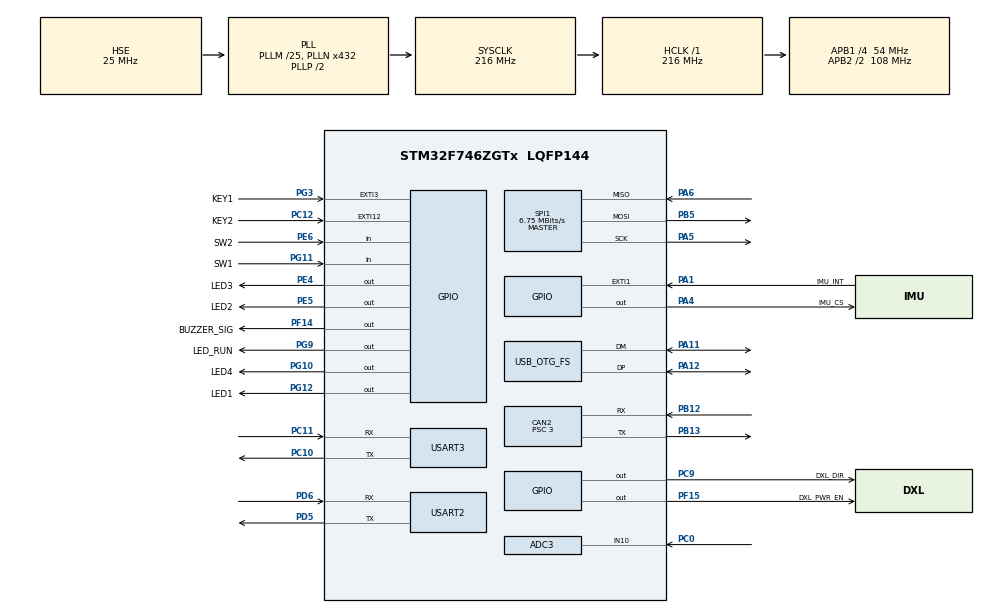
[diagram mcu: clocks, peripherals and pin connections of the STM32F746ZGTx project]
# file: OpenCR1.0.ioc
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ADC1.Channel-0\#ChannelRegularConversion=ADC_CHANNEL_VREFINT
ADC1.Channel-1\#ChannelRegularConversion=ADC_CHANNEL_VBAT
ADC1.ClockPrescaler=ADC_CLOCK_SYNC_PCLK_DIV8
ADC1.ContinuousConvMode=ENABLE
ADC1.DMAContinuousRequests=ENABLE
ADC1.NbrOfConversion=2
ADC1.NbrOfConversionFlag=1
ADC1.Rank-0\#ChannelRegularConversion=1
ADC1.Rank-1\#ChannelRegularConversion=2
ADC1.SamplingTime-0\#ChannelRegularConversion=ADC_SAMPLETIME_480CYCLES
ADC1.SamplingTime-1\#ChannelRegularConversion=ADC_SAMPLETIME_480CYCLES
ADC1.ScanConvMode=ADC_SCAN_ENABLE
ADC1.master=1
ADC3.Channel-0\#ChannelRegularConversion=ADC_CHANNEL_10
ADC3.ClockPrescaler=ADC_CLOCK_SYNC_PCLK_DIV8
ADC3.ContinuousConvMode=ENABLE
ADC3.DMAContinuousRequests=ENABLE
ADC3.NbrOfConversionFlag=1
ADC3.Rank-0\#ChannelRegularConversion=1
ADC3.SamplingTime-0\#ChannelRegularConversion=ADC_SAMPLETIME_480CYCLES
ADC3.ScanConvMode=ADC_SCAN_ENABLE
CAN2.BS1=CAN_BS1_15TQ
CAN2.BS2=CAN_BS2_2TQ
CAN2.CalculateBaudRate=1000000
CAN2.CalculateTimeBit=1000
CAN2.CalculateTimeQuantum=55.55555555555556
CAN2.NART=ENABLE
CAN2.Prescaler=3
CAN2.SJW=CAN_SJW_4TQ
CORTEX_M7.ART_ACCELERATOR_ENABLE=1
CORTEX_M7.CPU_DCache=Enabled
CORTEX_M7.CPU_ICache=Enabled
CORTEX_M7.FlashInterface=AXI_Enabled
CORTEX_M7.PREFETCH_ENABLE=1
Dma.ADC1.5.Direction=DMA_PERIPH_TO_MEMORY
Dma.ADC1.5.FIFOMode=DMA_FIFOMODE_DISABLE
Dma.ADC1.5.Instance=DMA2_Stream4
Dma.ADC1.5.MemDataAlignment=DMA_MDATAALIGN_HALFWORD
Dma.ADC1.5.MemInc=DMA_MINC_ENABLE
Dma.ADC1.5.Mode=DMA_CIRCULAR
Dma.ADC1.5.PeriphDataAlignment=DMA_PDATAALIGN_HALFWORD
Dma.ADC1.5.PeriphInc=DMA_PINC_DISABLE
Dma.ADC1.5.Priority=DMA_PRIORITY_LOW
Dma.ADC3.4.Direction=DMA_PERIPH_TO_MEMORY
Dma.ADC3.4.FIFOMode=DMA_FIFOMODE_DISABLE
Dma.ADC3.4.Instance=DMA2_Stream0
Dma.ADC3.4.MemDataAlignment=DMA_MDATAALIGN_HALFWORD
Dma.ADC3.4.MemInc=DMA_MINC_ENABLE
Dma.ADC3.4.Mode=DMA_CIRCULAR
Dma.ADC3.4.PeriphDataAlignment=DMA_PDATAALIGN_HALFWORD
Dma.ADC3.4.PeriphInc=DMA_PINC_DISABLE
Dma.ADC3.4.Priority=DMA_PRIORITY_LOW
Dma.Request0=USART3_RX
Dma.Request1=USART3_TX
Dma.Request2=USART2_RX
Dma.Request3=USART2_TX
Dma.Request4=ADC3
Dma.Request5=ADC1
Dma.Request6=SPI1_RX
Dma.Request7=SPI1_TX
Dma.SPI1_RX.6.Direction=DMA_PERIPH_TO_MEMORY
Dma.SPI1_RX.6.FIFOMode=DMA_FIFOMODE_DISABLE
Dma.SPI1_RX.6.Instance=DMA2_Stream2
Dma.SPI1_RX.6.MemDataAlignment=DMA_MDATAALIGN_BYTE
Dma.SPI1_RX.6.MemInc=DMA_MINC_ENABLE
Dma.SPI1_RX.6.Mode=DMA_NORMAL
Dma.SPI1_RX.6.PeriphDataAlignment=DMA_PDATAALIGN_BYTE
Dma.SPI1_RX.6.PeriphInc=DMA_PINC_DISABLE
Dma.SPI1_RX.6.Priority=DMA_PRIORITY_LOW
Dma.SPI1_TX.7.Direction=DMA_MEMORY_TO_PERIPH
Dma.SPI1_TX.7.FIFOMode=DMA_FIFOMODE_DISABLE
Dma.SPI1_TX.7.Instance=DMA2_Stream3
Dma.SPI1_TX.7.MemDataAlignment=DMA_MDATAALIGN_BYTE
Dma.SPI1_TX.7.MemInc=DMA_MINC_ENABLE
Dma.SPI1_TX.7.Mode=DMA_NORMAL
Dma.SPI1_TX.7.PeriphDataAlignment=DMA_PDATAALIGN_BYTE
Dma.SPI1_TX.7.PeriphInc=DMA_PINC_DISABLE
Dma.SPI1_TX.7.Priority=DMA_PRIORITY_LOW
Dma.USART2_RX.2.Direction=DMA_PERIPH_TO_MEMORY
Dma.USART2_RX.2.FIFOMode=DMA_FIFOMODE_DISABLE
Dma.USART2_RX.2.Instance=DMA1_Stream5
Dma.USART2_RX.2.MemDataAlignment=DMA_MDATAALIGN_BYTE
Dma.USART2_RX.2.MemInc=DMA_MINC_ENABLE
Dma.USART2_RX.2.Mode=DMA_NORMAL
Dma.USART2_RX.2.PeriphDataAlignment=DMA_PDATAALIGN_BYTE
Dma.USART2_RX.2.PeriphInc=DMA_PINC_DISABLE
Dma.USART2_RX.2.Priority=DMA_PRIORITY_LOW
Dma.USART2_TX.3.Direction=DMA_MEMORY_TO_PERIPH
Dma.USART2_TX.3.FIFOMode=DMA_FIFOMODE_DISABLE
Dma.USART2_TX.3.Instance=DMA1_Stream6
Dma.USART2_TX.3.MemDataAlignment=DMA_MDATAALIGN_BYTE
Dma.USART2_TX.3.MemInc=DMA_MINC_ENABLE
Dma.USART2_TX.3.Mode=DMA_NORMAL
Dma.USART2_TX.3.PeriphDataAlignment=DMA_PDATAALIGN_BYTE
Dma.USART2_TX.3.PeriphInc=DMA_PINC_DISABLE
Dma.USART2_TX.3.Priority=DMA_PRIORITY_LOW
Dma.USART3_RX.0.Direction=DMA_PERIPH_TO_MEMORY
Dma.USART3_RX.0.FIFOMode=DMA_FIFOMODE_DISABLE
Dma.USART3_RX.0.Instance=DMA1_Stream1
Dma.USART3_RX.0.MemDataAlignment=DMA_MDATAALIGN_BYTE
Dma.USART3_RX.0.MemInc=DMA_MINC_ENABLE
Dma.USART3_RX.0.Mode=DMA_NORMAL
Dma.USART3_RX.0.PeriphDataAlignment=DMA_PDATAALIGN_BYTE
Dma.USART3_RX.0.PeriphInc=DMA_PINC_DISABLE
Dma.USART3_RX.0.Priority=DMA_PRIORITY_LOW
Dma.USART3_TX.1.Direction=DMA_MEMORY_TO_PERIPH
Dma.USART3_TX.1.FIFOMode=DMA_FIFOMODE_DISABLE
Dma.USART3_TX.1.Instance=DMA1_Stream3
Dma.USART3_TX.1.MemDataAlignment=DMA_MDATAALIGN_BYTE
Dma.USART3_TX.1.MemInc=DMA_MINC_ENABLE
Dma.USART3_TX.1.Mode=DMA_NORMAL
Dma.USART3_TX.1.PeriphDataAlignment=DMA_PDATAALIGN_BYTE
Dma.USART3_TX.1.PeriphInc=DMA_PINC_DISABLE
Dma.USART3_TX.1.Priority=DMA_PRIORITY_LOW
FREERTOS.HEAP_NUMBER=1
FREERTOS.INCLUDE_vTaskDelayUntil=1
FREERTOS.MEMORY_ALLOCATION=0
FREERTOS.Tasks01=defaultTask,0,2048,StartDefaultTask,Default,NULL,Dynamic,NULL,NULL
FREERTOS.configCHECK_FOR_STACK_OVERFLOW=2
FREERTOS.configENABLE_BACKWARD_COMPATIBILITY=0
FREERTOS.configENABLE_FPU=1
FREERTOS.configQUEUE_REGISTRY_SIZE=0
FREERTOS.configRECORD_STACK_HIGH_ADDRESS=1
FREERTOS.configTOTAL_HEAP_SIZE=32768
FREERTOS.configUSE_COUNTING_SEMAPHORES=1
FREERTOS.configUSE_TASK_NOTIFICATIONS=0
IWDG.Prescaler=IWDG_PRESCALER_256
Mcu.Family=STM32F7
Mcu.Name=STM32F746ZGTx
Mcu.Package=LQFP144
NVIC.CAN2_RX0_IRQn=true\:5\:0\:false\:false\:true\:true\:true\:true\:true
NVIC.CAN2_RX1_IRQn=true\:5\:0\:false\:false\:true\:true\:true\:true\:true
NVIC.CAN2_SCE_IRQn=true\:5\:0\:false\:false\:true\:true\:true\:true\:true
NVIC.CAN2_TX_IRQn=true\:5\:0\:false\:false\:true\:true\:true\:true\:true
NVIC.DMA1_Stream1_IRQn=true\:5\:0\:false\:false\:true\:true\:false\:true\:true
NVIC.DMA1_Stream3_IRQn=true\:5\:0\:false\:false\:true\:true\:false\:true\:true
NVIC.DMA1_Stream5_IRQn=true\:5\:0\:false\:false\:true\:true\:false\:true\:true
NVIC.DMA1_Stream6_IRQn=true\:5\:0\:false\:false\:true\:true\:false\:true\:true
NVIC.DMA2_Stream0_IRQn=true\:5\:0\:false\:false\:true\:true\:false\:true\:true
NVIC.DMA2_Stream2_IRQn=true\:5\:0\:false\:false\:true\:true\:false\:true\:true
NVIC.DMA2_Stream3_IRQn=true\:5\:0\:false\:false\:true\:true\:false\:true\:true
NVIC.DMA2_Stream4_IRQn=true\:5\:0\:false\:false\:true\:true\:false\:true\:true
NVIC.EXTI15_10_IRQn=true\:5\:0\:false\:false\:true\:true\:true\:true\:true
NVIC.EXTI1_IRQn=true\:5\:0\:false\:false\:true\:true\:true\:true\:true
NVIC.EXTI3_IRQn=true\:5\:0\:false\:false\:true\:true\:true\:true\:true
NVIC.OTG_FS_IRQn=true\:5\:0\:false\:false\:true\:true\:true\:true\:true
NVIC.PriorityGroup=NVIC_PRIORITYGROUP_4
NVIC.SPI1_IRQn=true\:5\:0\:false\:false\:true\:true\:true\:true\:true
NVIC.TIM1_UP_TIM10_IRQn=true\:5\:0\:false\:false\:true\:true\:true\:true\:true
NVIC.TIM8_UP_TIM13_IRQn=true\:0\:0\:false\:false\:true\:false\:false\:true\:true
NVIC.TimeBase=TIM8_UP_TIM13_IRQn
NVIC.TimeBaseIP=TIM13
NVIC.USART2_IRQn=true\:5\:0\:false\:false\:true\:true\:true\:true\:true
NVIC.USART3_IRQn=true\:5\:0\:false\:false\:true\:true\:true\:true\:true
PA1.GPIO_Label=IMU_INT
PA1.Signal=GPXTI1
PA11.Mode=Device_Only
PA11.Signal=USB_OTG_FS_DM
PA12.Mode=Device_Only
PA12.Signal=USB_OTG_FS_DP
PA13.Mode=Serial_Wire
PA13.Signal=SYS_JTMS-SWDIO
PA14.Mode=Serial_Wire
PA14.Signal=SYS_JTCK-SWCLK
PA4.GPIO_Label=IMU_CS
PA4.Signal=GPIO_Output
PA5.Mode=Full_Duplex_Master
PA5.Signal=SPI1_SCK
PA6.Mode=Full_Duplex_Master
PA6.Signal=SPI1_MISO
PB12.Mode=CAN_Activate
PB12.Signal=CAN2_RX
PB13.Mode=CAN_Activate
PB13.Signal=CAN2_TX
PB5.Mode=Full_Duplex_Master
PB5.Signal=SPI1_MOSI
PC0.Signal=ADCx_IN10
PC10.Mode=Asynchronous
PC10.Signal=USART3_TX
PC11.Mode=Asynchronous
PC11.Signal=USART3_RX
PC12.GPIO_Label=KEY2
PC12.Signal=GPXTI12
PC9.GPIO_Label=DXL_DIR
PC9.Signal=GPIO_Output
PD5.Mode=Asynchronous
PD5.Signal=USART2_TX
PD6.Mode=Asynchronous
PD6.Signal=USART2_RX
PE4.GPIO_Label=LED3
PE4.Signal=GPIO_Output
PE5.GPIO_Label=LED2
PE5.Signal=GPIO_Output
PE6.GPIO_Label=SW2
PE6.Signal=GPIO_Input
PF14.GPIO_Label=BUZZER_SIG
PF14.Signal=GPIO_Output
PF15.GPIO_Label=DXL_PWR_EN
PF15.Signal=GPIO_Output
PG10.GPIO_Label=LED4
PG10.Signal=GPIO_Output
PG11.GPIO_Label=SW1
PG11.Signal=GPIO_Input
PG12.GPIO_Label=LED1
PG12.Signal=GPIO_Output
PG3.GPIO_Label=KEY1
PG3.Signal=GPXTI3
PG9.GPIO_Label=LED_RUN
PG9.Signal=GPIO_Output
PH0/OSC_IN.Mode=HSE-External-Oscillator
PH0/OSC_IN.Signal=RCC_OSC_IN
PH1/OSC_OUT.Mode=HSE-External-Oscillator
PH1/OSC_OUT.Signal=RCC_OSC_OUT
ProjectManager.HeapSize=0x200
ProjectManager.StackSize=0x400
ProjectManager.TargetToolchain=CMake
RCC.AHBFreq_Value=216000000
RCC.APB1CLKDivider=RCC_HCLK_DIV4
RCC.APB1Freq_Value=54000000
RCC.APB1TimFreq_Value=108000000
RCC.APB2CLKDivider=RCC_HCLK_DIV2
RCC.APB2Freq_Value=108000000
RCC.APB2TimFreq_Value=216000000
RCC.CortexFreq_Value=216000000
RCC.HCLKFreq_Value=216000000
RCC.HSE_VALUE=25000000
RCC.HSI_VALUE=16000000
RCC.LSE_VALUE=32768
RCC.PLLM=25
RCC.PLLN=432
RCC.PLLQ=9
RCC.SYSCLKFreq_VALUE=216000000
RCC.SYSCLKSource=RCC_SYSCLKSOURCE_PLLCLK
RCC.USBFreq_Value=48000000
RCC.VCOOutputFreq_Value=432000000
SH.ADCx_IN10.0=ADC3_IN10,IN10
SPI1.BaudRatePrescaler=SPI_BAUDRATEPRESCALER_16
SPI1.CalculateBaudRate=6.75 MBits/s
SPI1.DataSize=SPI_DATASIZE_8BIT
SPI1.Direction=SPI_DIRECTION_2LINES
SPI1.Mode=SPI_MODE_MASTER
SPI1.VirtualType=VM_MASTER
TIM1.AutoReloadPreload=TIM_AUTORELOAD_PRELOAD_ENABLE
TIM1.ClockDivision=TIM_CLOCKDIVISION_DIV4
USART2.VirtualMode-Asynchronous=VM_ASYNC
USART3.VirtualMode-Asynchronous=VM_ASYNC
USB_OTG_FS.VirtualMode=Device_Only
VP_ADC1_Vbat_Input.Mode=IN-Vbat
VP_ADC1_Vref_Input.Mode=IN-Vrefint
VP_FREERTOS_VS_CMSIS_V1.Mode=CMSIS_V1
VP_IWDG_VS_IWDG.Mode=IWDG_Activate
VP_SYS_VS_tim13.Mode=TIM13
VP_TIM1_VS_ClockSourceINT.Mode=Internal
board=custom

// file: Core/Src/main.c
/* USER CODE BEGIN Header */
/**
  ******************************************************************************
  * @file           : main.c
  * @brief          : Main program body
  ******************************************************************************
  * @attention
  *
  * Copyright (c) 2026 STMicroelectronics.
  * All rights reserved.
  *
  * This software is licensed under terms that can be found in the LICENSE file
  * in the root directory of this software component.
  * If no LICENSE file comes with this software, it is provided AS-IS.
  *
  ******************************************************************************
  */
/* USER CODE END Header */
#include "main.h"
#include "cmsis_os.h"

ADC_HandleTypeDef hadc1;
ADC_HandleTypeDef hadc3;
DMA_HandleTypeDef hdma_adc1;
DMA_HandleTypeDef hdma_adc3;

CAN_HandleTypeDef hcan2;

IWDG_HandleTypeDef hiwdg;

SPI_HandleTypeDef hspi1;
DMA_HandleTypeDef hdma_spi1_rx;
DMA_HandleTypeDef hdma_spi1_tx;

TIM_HandleTypeDef htim1;

UART_HandleTypeDef huart2;
UART_HandleTypeDef huart3;
DMA_HandleTypeDef hdma_usart2_rx;
DMA_HandleTypeDef hdma_usart2_tx;
DMA_HandleTypeDef hdma_usart3_rx;
DMA_HandleTypeDef hdma_usart3_tx;

PCD_HandleTypeDef hpcd_USB_OTG_FS;

osThreadId defaultTaskHandle;

void SystemClock_Config(void);
static void MX_GPIO_Init(void);
static void MX_DMA_Init(void);
static void MX_IWDG_Init(void);
static void MX_USART3_UART_Init(void);
static void MX_USART2_UART_Init(void);
static void MX_CAN2_Init(void);
static void MX_USB_OTG_FS_PCD_Init(void);
static void MX_ADC3_Init(void);
static void MX_SPI1_Init(void);
static void MX_ADC1_Init(void);
static void MX_TIM1_Init(void);
void StartDefaultTask(void const * argument);

/* USER CODE BEGIN PFP */
void app_main(void);
#ifndef OPENCR_IMAGE_bootloader
void STM32F7TimerPWM_OnPeriodElapsed(TIM_HandleTypeDef *htim);
#endif

/* USER CODE END PFP */

int main(void)
{

  /* USER CODE BEGIN 1 */
  /* A bootloader jump can enter the app with caches already enabled.
     Disable first so the generated enable path does not discard dirty
     reset-time writes (for example .bss zeroing) by invalidating D-cache. */
  if ((SCB->CCR & SCB_CCR_DC_Msk) != 0U)
  {
    SCB_DisableDCache();
  }
  if ((SCB->CCR & SCB_CCR_IC_Msk) != 0U)
  {
    SCB_DisableICache();
  }

  /* USER CODE END 1 */

  /* Enable the CPU Cache */

  /* Enable I-Cache---------------------------------------------------------*/
  SCB_EnableICache();

  /* Enable D-Cache---------------------------------------------------------*/
  SCB_EnableDCache();

  /* MCU Configuration--------------------------------------------------------*/

  /* Reset of all peripherals, Initializes the Flash interface and the Systick. */
  HAL_Init();

  /* Configure the system clock */
  SystemClock_Config();

  /* Initialize all configured peripherals */
  MX_GPIO_Init();
  MX_DMA_Init();
  MX_IWDG_Init();
  MX_USART3_UART_Init();
  MX_USART2_UART_Init();
  MX_CAN2_Init();
  MX_USB_OTG_FS_PCD_Init();
  MX_ADC3_Init();
  MX_SPI1_Init();
  MX_ADC1_Init();
  MX_TIM1_Init();

  /* Create the thread(s) */
  /* definition and creation of defaultTask */
  osThreadDef(defaultTask, StartDefaultTask, osPriorityNormal, 0, 2048);
  defaultTaskHandle = osThreadCreate(osThread(defaultTask), NULL);

  /* Start scheduler */
  osKernelStart();

  /* We should never get here as control is now taken by the scheduler */

  /* Infinite loop */
  while (1)
  {

  }
}

void SystemClock_Config(void)
{
  RCC_OscInitTypeDef RCC_OscInitStruct = {0};
  RCC_ClkInitTypeDef RCC_ClkInitStruct = {0};

  /** Configure the main internal regulator output voltage
  */
  __HAL_RCC_PWR_CLK_ENABLE();
  __HAL_PWR_VOLTAGESCALING_CONFIG(PWR_REGULATOR_VOLTAGE_SCALE1);

  /** Initializes the RCC Oscillators according to the specified parameters
  * in the RCC_OscInitTypeDef structure.
  */
  RCC_OscInitStruct.OscillatorType = RCC_OSCILLATORTYPE_LSI|RCC_OSCILLATORTYPE_HSE;
  RCC_OscInitStruct.HSEState = RCC_HSE_ON;
  RCC_OscInitStruct.LSIState = RCC_LSI_ON;
  RCC_OscInitStruct.PLL.PLLState = RCC_PLL_ON;
  RCC_OscInitStruct.PLL.PLLSource = RCC_PLLSOURCE_HSE;
  RCC_OscInitStruct.PLL.PLLM = 25;
  RCC_OscInitStruct.PLL.PLLN = 432;
  RCC_OscInitStruct.PLL.PLLP = RCC_PLLP_DIV2;
  RCC_OscInitStruct.PLL.PLLQ = 9;
  if (HAL_RCC_OscConfig(&RCC_OscInitStruct) != HAL_OK)
  {
    Error_Handler();
  }

  /** Activate the Over-Drive mode
  */
  if (HAL_PWREx_EnableOverDrive() != HAL_OK)
  {
    Error_Handler();
  }

  /** Initializes the CPU, AHB and APB buses clocks
  */
  RCC_ClkInitStruct.ClockType = RCC_CLOCKTYPE_HCLK|RCC_CLOCKTYPE_SYSCLK
                              |RCC_CLOCKTYPE_PCLK1|RCC_CLOCKTYPE_PCLK2;
  RCC_ClkInitStruct.SYSCLKSource = RCC_SYSCLKSOURCE_PLLCLK;
  RCC_ClkInitStruct.AHBCLKDivider = RCC_SYSCLK_DIV1;
  RCC_ClkInitStruct.APB1CLKDivider = RCC_HCLK_DIV4;
  RCC_ClkInitStruct.APB2CLKDivider = RCC_HCLK_DIV2;

  if (HAL_RCC_ClockConfig(&RCC_ClkInitStruct, FLASH_LATENCY_7) != HAL_OK)
  {
    Error_Handler();
  }
}

static void MX_ADC1_Init(void)
{

  ADC_ChannelConfTypeDef sConfig = {0};

  /** Configure the global features of the ADC (Clock, Resolution, Data Alignment and number of conversion)
  */
  hadc1.Instance = ADC1;
  hadc1.Init.ClockPrescaler = ADC_CLOCK_SYNC_PCLK_DIV8;
  hadc1.Init.Resolution = ADC_RESOLUTION_12B;
  hadc1.Init.ScanConvMode = ADC_SCAN_ENABLE;
  hadc1.Init.ContinuousConvMode = ENABLE;
  hadc1.Init.DiscontinuousConvMode = DISABLE;
  hadc1.Init.ExternalTrigConvEdge = ADC_EXTERNALTRIGCONVEDGE_NONE;
  hadc1.Init.ExternalTrigConv = ADC_SOFTWARE_START;
  hadc1.Init.DataAlign = ADC_DATAALIGN_RIGHT;
  hadc1.Init.NbrOfConversion = 2;
  hadc1.Init.DMAContinuousRequests = ENABLE;
  hadc1.Init.EOCSelection = ADC_EOC_SINGLE_CONV;
  if (HAL_ADC_Init(&hadc1) != HAL_OK)
  {
    Error_Handler();
  }

  /** Configure for the selected ADC regular channel its corresponding rank in the sequencer and its sample time.
  */
  sConfig.Channel = ADC_CHANNEL_VREFINT;
  sConfig.Rank = ADC_REGULAR_RANK_1;
  sConfig.SamplingTime = ADC_SAMPLETIME_480CYCLES;
  if (HAL_ADC_ConfigChannel(&hadc1, &sConfig) != HAL_OK)
  {
    Error_Handler();
  }

  /** Configure for the selected ADC regular channel its corresponding rank in the sequencer and its sample time.
  */
  sConfig.Channel = ADC_CHANNEL_VBAT;
  sConfig.Rank = ADC_REGULAR_RANK_2;
  if (HAL_ADC_ConfigChannel(&hadc1, &sConfig) != HAL_OK)
  {
    Error_Handler();
  }

}

static void MX_ADC3_Init(void)
{

  ADC_ChannelConfTypeDef sConfig = {0};

  /** Configure the global features of the ADC (Clock, Resolution, Data Alignment and number of conversion)
  */
  hadc3.Instance = ADC3;
  hadc3.Init.ClockPrescaler = ADC_CLOCK_SYNC_PCLK_DIV8;
  hadc3.Init.Resolution = ADC_RESOLUTION_12B;
  hadc3.Init.ScanConvMode = ADC_SCAN_ENABLE;
  hadc3.Init.ContinuousConvMode = ENABLE;
  hadc3.Init.DiscontinuousConvMode = DISABLE;
  hadc3.Init.ExternalTrigConvEdge = ADC_EXTERNALTRIGCONVEDGE_NONE;
  hadc3.Init.ExternalTrigConv = ADC_SOFTWARE_START;
  hadc3.Init.DataAlign = ADC_DATAALIGN_RIGHT;
  hadc3.Init.NbrOfConversion = 1;
  hadc3.Init.DMAContinuousRequests = ENABLE;
  hadc3.Init.EOCSelection = ADC_EOC_SINGLE_CONV;
  if (HAL_ADC_Init(&hadc3) != HAL_OK)
  {
    Error_Handler();
  }

  /** Configure for the selected ADC regular channel its corresponding rank in the sequencer and its sample time.
  */
  sConfig.Channel = ADC_CHANNEL_10;
  sConfig.Rank = ADC_REGULAR_RANK_1;
  sConfig.SamplingTime = ADC_SAMPLETIME_480CYCLES;
  if (HAL_ADC_ConfigChannel(&hadc3, &sConfig) != HAL_OK)
  {
    Error_Handler();
  }

}

static void MX_CAN2_Init(void)
{

  hcan2.Instance = CAN2;
  hcan2.Init.Prescaler = 3;
  hcan2.Init.Mode = CAN_MODE_NORMAL;
  hcan2.Init.SyncJumpWidth = CAN_SJW_4TQ;
  hcan2.Init.TimeSeg1 = CAN_BS1_15TQ;
  hcan2.Init.TimeSeg2 = CAN_BS2_2TQ;
  hcan2.Init.TimeTriggeredMode = DISABLE;
  hcan2.Init.AutoBusOff = DISABLE;
  hcan2.Init.AutoWakeUp = DISABLE;
  hcan2.Init.AutoRetransmission = ENABLE;
  hcan2.Init.ReceiveFifoLocked = DISABLE;
  hcan2.Init.TransmitFifoPriority = DISABLE;
  if (HAL_CAN_Init(&hcan2) != HAL_OK)
  {
    Error_Handler();
  }

}

static void MX_IWDG_Init(void)
{

  hiwdg.Instance = IWDG;
  hiwdg.Init.Prescaler = IWDG_PRESCALER_256;
  hiwdg.Init.Window = 4095;
  hiwdg.Init.Reload = 4095;
  if (HAL_IWDG_Init(&hiwdg) != HAL_OK)
  {
    Error_Handler();
  }

}

static void MX_SPI1_Init(void)
{

  /* SPI1 parameter configuration*/
  hspi1.Instance = SPI1;
  hspi1.Init.Mode = SPI_MODE_MASTER;
  hspi1.Init.Direction = SPI_DIRECTION_2LINES;
  hspi1.Init.DataSize = SPI_DATASIZE_8BIT;
  hspi1.Init.CLKPolarity = SPI_POLARITY_LOW;
  hspi1.Init.CLKPhase = SPI_PHASE_1EDGE;
  hspi1.Init.NSS = SPI_NSS_SOFT;
  hspi1.Init.BaudRatePrescaler = SPI_BAUDRATEPRESCALER_16;
  hspi1.Init.FirstBit = SPI_FIRSTBIT_MSB;
  hspi1.Init.TIMode = SPI_TIMODE_DISABLE;
  hspi1.Init.CRCCalculation = SPI_CRCCALCULATION_DISABLE;
  hspi1.Init.CRCPolynomial = 7;
  hspi1.Init.CRCLength = SPI_CRC_LENGTH_DATASIZE;
  hspi1.Init.NSSPMode = SPI_NSS_PULSE_ENABLE;
  if (HAL_SPI_Init(&hspi1) != HAL_OK)
  {
    Error_Handler();
  }

}

static void MX_TIM1_Init(void)
{

  TIM_ClockConfigTypeDef sClockSourceConfig = {0};
  TIM_MasterConfigTypeDef sMasterConfig = {0};

  htim1.Instance = TIM1;
  htim1.Init.Prescaler = 0;
  htim1.Init.CounterMode = TIM_COUNTERMODE_UP;
  htim1.Init.Period = 65535;
  htim1.Init.ClockDivision = TIM_CLOCKDIVISION_DIV4;
  htim1.Init.RepetitionCounter = 0;
  htim1.Init.AutoReloadPreload = TIM_AUTORELOAD_PRELOAD_ENABLE;
  if (HAL_TIM_Base_Init(&htim1) != HAL_OK)
  {
    Error_Handler();
  }
  sClockSourceConfig.ClockSource = TIM_CLOCKSOURCE_INTERNAL;
  if (HAL_TIM_ConfigClockSource(&htim1, &sClockSourceConfig) != HAL_OK)
  {
    Error_Handler();
  }
  sMasterConfig.MasterOutputTrigger = TIM_TRGO_RESET;
  sMasterConfig.MasterOutputTrigger2 = TIM_TRGO2_RESET;
  sMasterConfig.MasterSlaveMode = TIM_MASTERSLAVEMODE_DISABLE;
  if (HAL_TIMEx_MasterConfigSynchronization(&htim1, &sMasterConfig) != HAL_OK)
  {
    Error_Handler();
  }

}

static void MX_USART2_UART_Init(void)
{

  huart2.Instance = USART2;
  huart2.Init.BaudRate = 115200;
  huart2.Init.WordLength = UART_WORDLENGTH_8B;
  huart2.Init.StopBits = UART_STOPBITS_1;
  huart2.Init.Parity = UART_PARITY_NONE;
  huart2.Init.Mode = UART_MODE_TX_RX;
  huart2.Init.HwFlowCtl = UART_HWCONTROL_NONE;
  huart2.Init.OverSampling = UART_OVERSAMPLING_16;
  huart2.Init.OneBitSampling = UART_ONE_BIT_SAMPLE_DISABLE;
  huart2.AdvancedInit.AdvFeatureInit = UART_ADVFEATURE_NO_INIT;
  if (HAL_UART_Init(&huart2) != HAL_OK)
  {
    Error_Handler();
  }

}

static void MX_USART3_UART_Init(void)
{

  huart3.Instance = USART3;
  huart3.Init.BaudRate = 115200;
  huart3.Init.WordLength = UART_WORDLENGTH_8B;
  huart3.Init.StopBits = UART_STOPBITS_1;
  huart3.Init.Parity = UART_PARITY_NONE;
  huart3.Init.Mode = UART_MODE_TX_RX;
  huart3.Init.HwFlowCtl = UART_HWCONTROL_NONE;
  huart3.Init.OverSampling = UART_OVERSAMPLING_16;
  huart3.Init.OneBitSampling = UART_ONE_BIT_SAMPLE_DISABLE;
  huart3.AdvancedInit.AdvFeatureInit = UART_ADVFEATURE_NO_INIT;
  if (HAL_UART_Init(&huart3) != HAL_OK)
  {
    Error_Handler();
  }

}

static void MX_USB_OTG_FS_PCD_Init(void)
{

  hpcd_USB_OTG_FS.Instance = USB_OTG_FS;
  hpcd_USB_OTG_FS.Init.dev_endpoints = 6;
  hpcd_USB_OTG_FS.Init.speed = PCD_SPEED_FULL;
  hpcd_USB_OTG_FS.Init.dma_enable = DISABLE;
  hpcd_USB_OTG_FS.Init.phy_itface = PCD_PHY_EMBEDDED;
  hpcd_USB_OTG_FS.Init.Sof_enable = DISABLE;
  hpcd_USB_OTG_FS.Init.low_power_enable = DISABLE;
  hpcd_USB_OTG_FS.Init.lpm_enable = DISABLE;
  hpcd_USB_OTG_FS.Init.vbus_sensing_enable = DISABLE;
  hpcd_USB_OTG_FS.Init.use_dedicated_ep1 = DISABLE;
  if (HAL_PCD_Init(&hpcd_USB_OTG_FS) != HAL_OK)
  {
    Error_Handler();
  }

}

static void MX_DMA_Init(void)
{

  /* DMA controller clock enable */
  __HAL_RCC_DMA1_CLK_ENABLE();
  __HAL_RCC_DMA2_CLK_ENABLE();

  /* DMA interrupt init */
  /* DMA1_Stream1_IRQn interrupt configuration */
  HAL_NVIC_SetPriority(DMA1_Stream1_IRQn, 5, 0);
  HAL_NVIC_EnableIRQ(DMA1_Stream1_IRQn);
  /* DMA1_Stream3_IRQn interrupt configuration */
  HAL_NVIC_SetPriority(DMA1_Stream3_IRQn, 5, 0);
  HAL_NVIC_EnableIRQ(DMA1_Stream3_IRQn);
  /* DMA1_Stream5_IRQn interrupt configuration */
  HAL_NVIC_SetPriority(DMA1_Stream5_IRQn, 5, 0);
  HAL_NVIC_EnableIRQ(DMA1_Stream5_IRQn);
  /* DMA1_Stream6_IRQn interrupt configuration */
  HAL_NVIC_SetPriority(DMA1_Stream6_IRQn, 5, 0);
  HAL_NVIC_EnableIRQ(DMA1_Stream6_IRQn);
  /* DMA2_Stream0_IRQn interrupt configuration */
  HAL_NVIC_SetPriority(DMA2_Stream0_IRQn, 5, 0);
  HAL_NVIC_EnableIRQ(DMA2_Stream0_IRQn);
  /* DMA2_Stream2_IRQn interrupt configuration */
  HAL_NVIC_SetPriority(DMA2_Stream2_IRQn, 5, 0);
  HAL_NVIC_EnableIRQ(DMA2_Stream2_IRQn);
  /* DMA2_Stream3_IRQn interrupt configuration */
  HAL_NVIC_SetPriority(DMA2_Stream3_IRQn, 5, 0);
  HAL_NVIC_EnableIRQ(DMA2_Stream3_IRQn);
  /* DMA2_Stream4_IRQn interrupt configuration */
  HAL_NVIC_SetPriority(DMA2_Stream4_IRQn, 5, 0);
  HAL_NVIC_EnableIRQ(DMA2_Stream4_IRQn);

}

static void MX_GPIO_Init(void)
{
  GPIO_InitTypeDef GPIO_InitStruct = {0};

  /* GPIO Ports Clock Enable */
  __HAL_RCC_GPIOE_CLK_ENABLE();
  __HAL_RCC_GPIOH_CLK_ENABLE();
  __HAL_RCC_GPIOC_CLK_ENABLE();
  __HAL_RCC_GPIOA_CLK_ENABLE();
  __HAL_RCC_GPIOF_CLK_ENABLE();
  __HAL_RCC_GPIOB_CLK_ENABLE();
  __HAL_RCC_GPIOG_CLK_ENABLE();
  __HAL_RCC_GPIOD_CLK_ENABLE();

  /*Configure GPIO pin Output Level */
  HAL_GPIO_WritePin(GPIOE, LED3_Pin|LED2_Pin, GPIO_PIN_RESET);

  /*Configure GPIO pin Output Level */
  HAL_GPIO_WritePin(IMU_CS_GPIO_Port, IMU_CS_Pin, GPIO_PIN_RESET);

  /*Configure GPIO pin Output Level */
  HAL_GPIO_WritePin(GPIOF, BUZZER_SIG_Pin|DXL_PWR_EN_Pin, GPIO_PIN_RESET);

  /*Configure GPIO pin Output Level */
  HAL_GPIO_WritePin(DXL_DIR_GPIO_Port, DXL_DIR_Pin, GPIO_PIN_RESET);

  /*Configure GPIO pin Output Level */
  HAL_GPIO_WritePin(GPIOG, LED_RUN_Pin|LED4_Pin|LED1_Pin, GPIO_PIN_RESET);

  /*Configure GPIO pins : LED3_Pin LED2_Pin */
  GPIO_InitStruct.Pin = LED3_Pin|LED2_Pin;
  GPIO_InitStruct.Mode = GPIO_MODE_OUTPUT_PP;
  GPIO_InitStruct.Pull = GPIO_NOPULL;
  GPIO_InitStruct.Speed = GPIO_SPEED_FREQ_LOW;
  HAL_GPIO_Init(GPIOE, &GPIO_InitStruct);

  /*Configure GPIO pin : SW2_Pin */
  GPIO_InitStruct.Pin = SW2_Pin;
  GPIO_InitStruct.Mode = GPIO_MODE_INPUT;
  GPIO_InitStruct.Pull = GPIO_NOPULL;
  HAL_GPIO_Init(SW2_GPIO_Port, &GPIO_InitStruct);

  /*Configure GPIO pin : IMU_INT_Pin */
  GPIO_InitStruct.Pin = IMU_INT_Pin;
  GPIO_InitStruct.Mode = GPIO_MODE_IT_RISING;
  GPIO_InitStruct.Pull = GPIO_NOPULL;
  HAL_GPIO_Init(IMU_INT_GPIO_Port, &GPIO_InitStruct);

  /*Configure GPIO pin : IMU_CS_Pin */
  GPIO_InitStruct.Pin = IMU_CS_Pin;
  GPIO_InitStruct.Mode = GPIO_MODE_OUTPUT_PP;
  GPIO_InitStruct.Pull = GPIO_NOPULL;
  GPIO_InitStruct.Speed = GPIO_SPEED_FREQ_LOW;
  HAL_GPIO_Init(IMU_CS_GPIO_Port, &GPIO_InitStruct);

  /*Configure GPIO pins : BUZZER_SIG_Pin DXL_PWR_EN_Pin */
  GPIO_InitStruct.Pin = BUZZER_SIG_Pin|DXL_PWR_EN_Pin;
  GPIO_InitStruct.Mode = GPIO_MODE_OUTPUT_PP;
  GPIO_InitStruct.Pull = GPIO_NOPULL;
  GPIO_InitStruct.Speed = GPIO_SPEED_FREQ_LOW;
  HAL_GPIO_Init(GPIOF, &GPIO_InitStruct);

  /*Configure GPIO pin : KEY1_Pin */
  GPIO_InitStruct.Pin = KEY1_Pin;
  GPIO_InitStruct.Mode = GPIO_MODE_IT_RISING;
  GPIO_InitStruct.Pull = GPIO_NOPULL;
  HAL_GPIO_Init(KEY1_GPIO_Port, &GPIO_InitStruct);

  /*Configure GPIO pin : DXL_DIR_Pin */
  GPIO_InitStruct.Pin = DXL_DIR_Pin;
  GPIO_InitStruct.Mode = GPIO_MODE_OUTPUT_PP;
  GPIO_InitStruct.Pull = GPIO_NOPULL;
  GPIO_InitStruct.Speed = GPIO_SPEED_FREQ_LOW;
  HAL_GPIO_Init(DXL_DIR_GPIO_Port, &GPIO_InitStruct);

  /*Configure GPIO pin : KEY2_Pin */
  GPIO_InitStruct.Pin = KEY2_Pin;
  GPIO_InitStruct.Mode = GPIO_MODE_IT_RISING;
  GPIO_InitStruct.Pull = GPIO_NOPULL;
  HAL_GPIO_Init(KEY2_GPIO_Port, &GPIO_InitStruct);

  /*Configure GPIO pins : LED_RUN_Pin LED4_Pin LED1_Pin */
  GPIO_InitStruct.Pin = LED_RUN_Pin|LED4_Pin|LED1_Pin;
  GPIO_InitStruct.Mode = GPIO_MODE_OUTPUT_PP;
  GPIO_InitStruct.Pull = GPIO_NOPULL;
  GPIO_InitStruct.Speed = GPIO_SPEED_FREQ_LOW;
  HAL_GPIO_Init(GPIOG, &GPIO_InitStruct);

  /*Configure GPIO pin : SW1_Pin */
  GPIO_InitStruct.Pin = SW1_Pin;
  GPIO_InitStruct.Mode = GPIO_MODE_INPUT;
  GPIO_InitStruct.Pull = GPIO_NOPULL;
  HAL_GPIO_Init(SW1_GPIO_Port, &GPIO_InitStruct);

  /* EXTI interrupt init*/
  HAL_NVIC_SetPriority(EXTI1_IRQn, 5, 0);
  HAL_NVIC_EnableIRQ(EXTI1_IRQn);

  HAL_NVIC_SetPriority(EXTI3_IRQn, 5, 0);
  HAL_NVIC_EnableIRQ(EXTI3_IRQn);

  HAL_NVIC_SetPriority(EXTI15_10_IRQn, 5, 0);
  HAL_NVIC_EnableIRQ(EXTI15_10_IRQn);

}

void StartDefaultTask(void const * argument)
{
  /* USER CODE BEGIN 5 */
  app_main();
  /* Infinite loop */
  for(;;)
  {
    osDelay(1);
  }
  /* USER CODE END 5 */
}

void HAL_TIM_PeriodElapsedCallback(TIM_HandleTypeDef *htim)
{
  if (htim->Instance == TIM13)
  {
    HAL_IncTick();
  }
  /* USER CODE BEGIN Callback 1 */
#ifndef OPENCR_IMAGE_bootloader
  STM32F7TimerPWM_OnPeriodElapsed(htim);
#endif
  /* USER CODE END Callback 1 */
}

void Error_Handler(void)
{
  __disable_irq();
  while (1)
  {
  }
}

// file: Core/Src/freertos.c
/* USER CODE BEGIN Header */
/**
  ******************************************************************************
  * File Name          : freertos.c
  * Description        : Code for freertos applications
  ******************************************************************************
  * @attention
  *
  * Copyright (c) 2026 STMicroelectronics.
  * All rights reserved.
  *
  * This software is licensed under terms that can be found in the LICENSE file
  * in the root directory of this software component.
  * If no LICENSE file comes with this software, it is provided AS-IS.
  *
  ******************************************************************************
  */
/* USER CODE END Header */

#include "FreeRTOS.h"
#include "task.h"
#include "main.h"

/* USER CODE BEGIN Includes */
#include <stdbool.h>
/* USER CODE END Includes */

/* Hook prototypes */
void vApplicationStackOverflowHook(TaskHandle_t xTask, signed char *pcTaskName);

/* USER CODE BEGIN 4 */
/* 栈溢出时进入 LibXR 的错误处理；强定义覆盖 CubeMX 和 LibXR 中的弱定义。
   A stack overflow goes to LibXR's error handling; this strong definition overrides the weak
   ones of CubeMX and LibXR. */
extern void libxr_fatal_error(const char *file, uint32_t line, bool in_isr);

void vApplicationStackOverflowHook(TaskHandle_t xTask, signed char *pcTaskName)
{
  (void)xTask;
  (void)pcTaskName;
  taskDISABLE_INTERRUPTS();
  libxr_fatal_error(__FILE__, __LINE__, false);
}
/* USER CODE END 4 */
